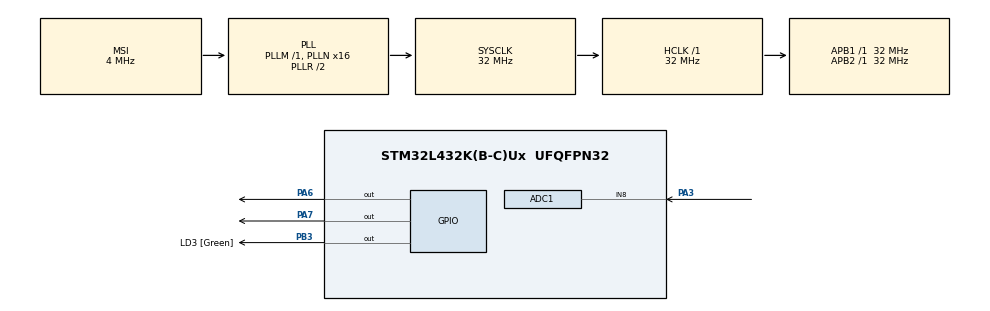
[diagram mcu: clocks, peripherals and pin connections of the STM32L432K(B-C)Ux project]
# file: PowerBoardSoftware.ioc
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ADC1.Channel-0\#ChannelRegularConversion=ADC_CHANNEL_8
ADC1.NbrOfConversionFlag=1
ADC1.OffsetNumber-0\#ChannelRegularConversion=ADC_OFFSET_NONE
ADC1.Rank-0\#ChannelRegularConversion=1
ADC1.SamplingTime-0\#ChannelRegularConversion=ADC_SAMPLETIME_2CYCLES_5
ADC1.master=1
Mcu.Family=STM32L4
Mcu.Name=STM32L432K(B-C)Ux
Mcu.Package=UFQFPN32
NVIC.PriorityGroup=NVIC_PRIORITYGROUP_4
PA0.GPIO_Label=MCO [High speed clock in]
PA0.Signal=RCC_CK_IN
PA13\ (JTMS-SWDIO).GPIO_Label=SWDIO
PA13\ (JTMS-SWDIO).Signal=SYS_JTMS-SWDIO
PA14\ (JTCK-SWCLK).GPIO_Label=SWCLK
PA14\ (JTCK-SWCLK).Signal=SYS_JTCK-SWCLK
PA15\ (JTDI).GPIO_Label=VCP_RX
PA15\ (JTDI).Signal=USART2_RX
PA2.GPIO_Label=VCP_TX
PA2.Signal=USART2_TX
PA3.Signal=ADCx_IN8
PA6.GPIO_Speed=GPIO_SPEED_FREQ_MEDIUM
PA6.Signal=GPIO_Output
PA7.GPIO_Speed=GPIO_SPEED_FREQ_MEDIUM
PA7.Signal=GPIO_Output
PB3\ (JTDO-TRACESWO).GPIO_Label=LD3 [Green]
PB3\ (JTDO-TRACESWO).Signal=GPIO_Output
PC14-OSC32_IN\ (PC14).Signal=RCC_OSC32_IN
PC15-OSC32_OUT\ (PC15).Signal=RCC_OSC32_OUT
ProjectManager.HeapSize=0x200
ProjectManager.StackSize=0x400
ProjectManager.TargetToolchain=Makefile
RCC.ADCFreq_Value=32000000
RCC.AHBFreq_Value=32000000
RCC.APB1Freq_Value=32000000
RCC.APB1TimFreq_Value=32000000
RCC.APB2Freq_Value=32000000
RCC.APB2TimFreq_Value=32000000
RCC.CortexFreq_Value=32000000
RCC.HCLKFreq_Value=32000000
RCC.HSE_VALUE=8000000
RCC.HSI16_VALUE=16000000
RCC.HSI48_VALUE=48000000
RCC.HSI_VALUE=16000000
RCC.LSE_VALUE=32768
RCC.MSI_VALUE=4000000
RCC.PLLMUL=RCC_PLLMUL_4
RCC.PLLN=16
RCC.PLLSAI1N=16
RCC.SYSCLKFreq_VALUE=32000000
RCC.SYSCLKSource=RCC_SYSCLKSOURCE_PLLCLK
RCC.USBFreq_Value=32000000
RCC.VCOOutputFreq_Value=64000000
SH.ADCx_IN8.0=ADC1_IN8,IN8-Single-Ended
board=NUCLEO-L432KC

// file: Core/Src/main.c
/* USER CODE BEGIN Header */
/**
  ******************************************************************************
  * @file           : main.c
  * @brief          : Main program body
  ******************************************************************************
  * @attention
  *
  * Copyright (c) 2024 STMicroelectronics.
  * All rights reserved.
  *
  * This software is licensed under terms that can be found in the LICENSE file
  * in the root directory of this software component.
  * If no LICENSE file comes with this software, it is provided AS-IS.
  *
  ******************************************************************************
  */
/* USER CODE END Header */
#include "main.h"
#include <stdio.h>

ADC_HandleTypeDef hadc1;

uint16_t THRESHHOLD = 12;

void SystemClock_Config(void);
static void MX_GPIO_Init(void);
static void MX_ADC1_Init(void);

/* USER CODE BEGIN 0 */

uint16_t average_filter(uint16_t val, uint16_t* buffer, uint16_t size, uint16_t *i, uint16_t *sum) { // Moving average filter for the ADC values. Works by replacing the oldest value in buffer with a new value.
  *sum += val;
  *sum -= buffer[*i];
  buffer[*i] = val;
  *i = (*i + 1) % size;

  return *sum / size;
}

/* USER CODE END 0 */

int main(void)
{

  /* USER CODE BEGIN 1 */

  uint16_t raw;
  uint16_t buffer[5];
  uint16_t filter;
  uint16_t sum = 0;
  uint16_t i = 0;

  for (int i = 0; i < 5; i++) {
    buffer[i] = 0;
  }

  /* USER CODE END 1 */

  /* MCU Configuration--------------------------------------------------------*/

  /* Reset of all peripherals, Initializes the Flash interface and the Systick. */
  HAL_Init();

  /* Configure the system clock */
  SystemClock_Config();

  /* Initialize all configured peripherals */
  MX_GPIO_Init();
  MX_ADC1_Init();
  /* USER CODE BEGIN 2 */
  HAL_GPIO_WritePin(GPIOA, GPIO_PIN_7, 1);
  int state = 0;
  /* USER CODE END 2 */

  /* Infinite loop */
  while (1)
  {

    // The following code is mena to sample the voltage incoming from the DC-DC convertor
    // and perform GPIO writes to switch power supplies.

    HAL_ADC_Start(&hadc1); // Starts the ADC conversion for the instance specified by hadc.
    //&hadc passes the address of adc we want to use (contains configs and info abt ADC)
    HAL_ADC_PollForConversion(&hadc1, HAL_MAX_DELAY); // This waits for conversion to complete
    raw = HAL_ADC_GetValue(&hadc1); // gets value
    filter = average_filter(raw, buffer, 5, &i, &sum);

    if (filter > 3150 && state == 0) {
      HAL_GPIO_WritePin(LD3_GPIO_Port, LD3_Pin, 1);
      HAL_GPIO_WritePin(GPIOA, GPIO_PIN_7, 0); //Turn off Supplemental Connection
      //HAL_Delay(6);
      HAL_GPIO_WritePin(GPIOA, GPIO_PIN_6, 1); //Turn on DCDC Connection
      state = 1;
    }
    else if (raw < 3150 && state != 0){
      HAL_GPIO_WritePin(LD3_GPIO_Port, LD3_Pin, 0);
      HAL_GPIO_WritePin(GPIOA, GPIO_PIN_6, 0); //Turn off DCDC Connection
      //HAL_Delay(6);
      HAL_GPIO_WritePin(GPIOA, GPIO_PIN_7, 1); //Turn on Supplemental Connection
      state = 0;
    }

  }
}
void SystemClock_Config(void)
{
  RCC_OscInitTypeDef RCC_OscInitStruct = {0};
  RCC_ClkInitTypeDef RCC_ClkInitStruct = {0};

  /** Configure the main internal regulator output voltage
  */
  if (HAL_PWREx_ControlVoltageScaling(PWR_REGULATOR_VOLTAGE_SCALE1) != HAL_OK)
  {
    Error_Handler();
  }

  /** Initializes the RCC Oscillators according to the specified parameters
  * in the RCC_OscInitTypeDef structure.
  */
  RCC_OscInitStruct.OscillatorType = RCC_OSCILLATORTYPE_MSI;
  RCC_OscInitStruct.MSIState = RCC_MSI_ON;
  RCC_OscInitStruct.MSICalibrationValue = 0;
  RCC_OscInitStruct.MSIClockRange = RCC_MSIRANGE_6;
  RCC_OscInitStruct.PLL.PLLState = RCC_PLL_ON;
  RCC_OscInitStruct.PLL.PLLSource = RCC_PLLSOURCE_MSI;
  RCC_OscInitStruct.PLL.PLLM = 1;
  RCC_OscInitStruct.PLL.PLLN = 16;
  RCC_OscInitStruct.PLL.PLLP = RCC_PLLP_DIV7;
  RCC_OscInitStruct.PLL.PLLQ = RCC_PLLQ_DIV2;
  RCC_OscInitStruct.PLL.PLLR = RCC_PLLR_DIV2;
  if (HAL_RCC_OscConfig(&RCC_OscInitStruct) != HAL_OK)
  {
    Error_Handler();
  }

  /** Initializes the CPU, AHB and APB buses clocks
  */
  RCC_ClkInitStruct.ClockType = RCC_CLOCKTYPE_HCLK|RCC_CLOCKTYPE_SYSCLK
                              |RCC_CLOCKTYPE_PCLK1|RCC_CLOCKTYPE_PCLK2;
  RCC_ClkInitStruct.SYSCLKSource = RCC_SYSCLKSOURCE_PLLCLK;
  RCC_ClkInitStruct.AHBCLKDivider = RCC_SYSCLK_DIV1;
  RCC_ClkInitStruct.APB1CLKDivider = RCC_HCLK_DIV1;
  RCC_ClkInitStruct.APB2CLKDivider = RCC_HCLK_DIV1;

  if (HAL_RCC_ClockConfig(&RCC_ClkInitStruct, FLASH_LATENCY_1) != HAL_OK)
  {
    Error_Handler();
  }
}

static void MX_ADC1_Init(void)
{

  ADC_ChannelConfTypeDef sConfig = {0};

  /** Common config
  */
  hadc1.Instance = ADC1;
  hadc1.Init.ClockPrescaler = ADC_CLOCK_ASYNC_DIV1;
  hadc1.Init.Resolution = ADC_RESOLUTION_12B;
  hadc1.Init.DataAlign = ADC_DATAALIGN_RIGHT;
  hadc1.Init.ScanConvMode = ADC_SCAN_DISABLE;
  hadc1.Init.EOCSelection = ADC_EOC_SINGLE_CONV;
  hadc1.Init.LowPowerAutoWait = DISABLE;
  hadc1.Init.ContinuousConvMode = DISABLE;
  hadc1.Init.NbrOfConversion = 1;
  hadc1.Init.DiscontinuousConvMode = DISABLE;
  hadc1.Init.ExternalTrigConv = ADC_SOFTWARE_START;
  hadc1.Init.ExternalTrigConvEdge = ADC_EXTERNALTRIGCONVEDGE_NONE;
  hadc1.Init.DMAContinuousRequests = DISABLE;
  hadc1.Init.Overrun = ADC_OVR_DATA_PRESERVED;
  hadc1.Init.OversamplingMode = DISABLE;
  if (HAL_ADC_Init(&hadc1) != HAL_OK)
  {
    Error_Handler();
  }

  /** Configure Regular Channel
  */
  sConfig.Channel = ADC_CHANNEL_8;
  sConfig.Rank = ADC_REGULAR_RANK_1;
  sConfig.SamplingTime = ADC_SAMPLETIME_2CYCLES_5;
  sConfig.SingleDiff = ADC_SINGLE_ENDED;
  sConfig.OffsetNumber = ADC_OFFSET_NONE;
  sConfig.Offset = 0;
  if (HAL_ADC_ConfigChannel(&hadc1, &sConfig) != HAL_OK)
  {
    Error_Handler();
  }

}

static void MX_GPIO_Init(void)
{
  GPIO_InitTypeDef GPIO_InitStruct = {0};

  /* GPIO Ports Clock Enable */
  __HAL_RCC_GPIOC_CLK_ENABLE();
  __HAL_RCC_GPIOA_CLK_ENABLE();
  __HAL_RCC_GPIOB_CLK_ENABLE();

  /*Configure GPIO pin Output Level */
  HAL_GPIO_WritePin(GPIOA, GPIO_PIN_6|GPIO_PIN_7, GPIO_PIN_RESET);

  /*Configure GPIO pin Output Level */
  HAL_GPIO_WritePin(LD3_GPIO_Port, LD3_Pin, GPIO_PIN_RESET);

  /*Configure GPIO pin : VCP_TX_Pin */
  GPIO_InitStruct.Pin = VCP_TX_Pin;
  GPIO_InitStruct.Mode = GPIO_MODE_AF_PP;
  GPIO_InitStruct.Pull = GPIO_NOPULL;
  GPIO_InitStruct.Speed = GPIO_SPEED_FREQ_VERY_HIGH;
  GPIO_InitStruct.Alternate = GPIO_AF7_USART2;
  HAL_GPIO_Init(VCP_TX_GPIO_Port, &GPIO_InitStruct);

  /*Configure GPIO pins : PA6 PA7 */
  GPIO_InitStruct.Pin = GPIO_PIN_6|GPIO_PIN_7;
  GPIO_InitStruct.Mode = GPIO_MODE_OUTPUT_PP;
  GPIO_InitStruct.Pull = GPIO_NOPULL;
  GPIO_InitStruct.Speed = GPIO_SPEED_FREQ_MEDIUM;
  HAL_GPIO_Init(GPIOA, &GPIO_InitStruct);

  /*Configure GPIO pin : VCP_RX_Pin */
  GPIO_InitStruct.Pin = VCP_RX_Pin;
  GPIO_InitStruct.Mode = GPIO_MODE_AF_PP;
  GPIO_InitStruct.Pull = GPIO_NOPULL;
  GPIO_InitStruct.Speed = GPIO_SPEED_FREQ_VERY_HIGH;
  GPIO_InitStruct.Alternate = GPIO_AF3_USART2;
  HAL_GPIO_Init(VCP_RX_GPIO_Port, &GPIO_InitStruct);

  /*Configure GPIO pin : LD3_Pin */
  GPIO_InitStruct.Pin = LD3_Pin;
  GPIO_InitStruct.Mode = GPIO_MODE_OUTPUT_PP;
  GPIO_InitStruct.Pull = GPIO_NOPULL;
  GPIO_InitStruct.Speed = GPIO_SPEED_FREQ_LOW;
  HAL_GPIO_Init(LD3_GPIO_Port, &GPIO_InitStruct);

}

void Error_Handler(void)
{
  __disable_irq();
  while (1)
  {
  }
}
